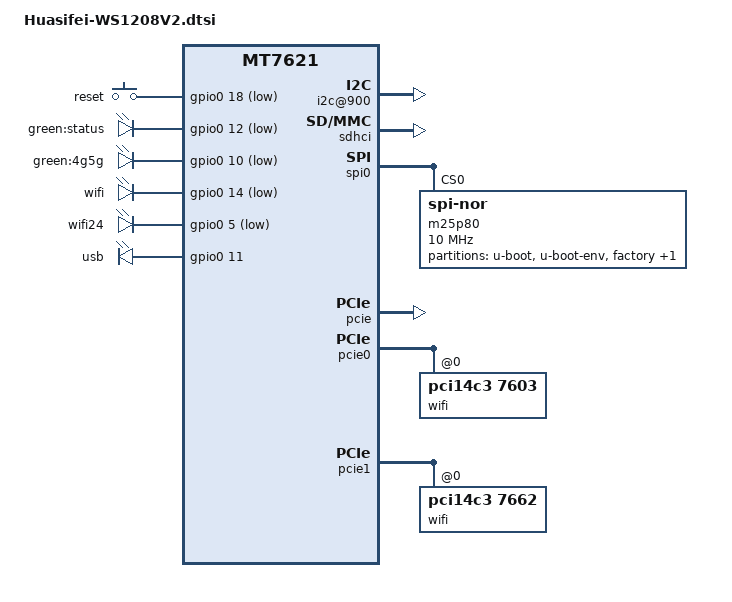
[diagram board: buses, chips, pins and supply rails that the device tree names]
#include "mt7621.dtsi"

#include <dt-bindings/gpio/gpio.h>
#include <dt-bindings/input/input.h>

/ {
	compatible = "huasifei,huasifei-ws1208v2", "mediatek,mt7621-soc";

	aliases {
		led-boot = &led_status;
		led-failsafe = &led_status;
		led-running = &led_status;
		led-upgrade = &led_status;
	};

	chosen {
		bootargs = "console=ttyS0,115200";
	};
	
	palmbus: palmbus@1E000000 {
		i2c@900 {
			status = "okay";
		};
	};

	keys {
		compatible = "gpio-keys-polled";
		poll-interval = <20>;

		reset {
			label = "reset";
			gpios = <&gpio0 18 GPIO_ACTIVE_LOW>;
			linux,code = <KEY_RESTART>;
		};
	};

	leds {
		compatible = "gpio-leds";

		led_status: status {
			label = "green:status";
			gpios = <&gpio0 12 GPIO_ACTIVE_LOW>;
		};
		
		led_4g5g: 4g5g {
			label = "green:4g5g";
			gpios = <&gpio0 10 GPIO_ACTIVE_LOW>;
		};
		
		wifi {
			label = "wifi";
			gpios = <&gpio0 14 GPIO_ACTIVE_LOW>;
		};
		
		wifi24 {
			label = "wifi24";
			gpios = <&gpio0 5 GPIO_ACTIVE_LOW>;
		};
		
		usb {
			label = "usb";
			gpios = <&gpio0 11 GPIO_ACTIVE_HIGH>;
		};
	};
};

&sdhci {
	status = "okay";
};

&spi0 {
	status = "okay";

	m25p80@0 {
		compatible = "jedec,spi-nor";
		reg = <0>;
		spi-max-frequency = <10000000>;

		partitions {
			compatible = "fixed-partitions";
			#address-cells = <1>;
			#size-cells = <1>;

			partition@0 {
				label = "u-boot";
				reg = <0x0 0x30000>;
				read-only;
			};

			partition@30000 {
				label = "u-boot-env";
				reg = <0x30000 0x10000>;
				read-only;
			};

			factory: partition@40000 {
				label = "factory";
				reg = <0x40000 0x10000>;
				read-only;
			};

			firmware: partition@50000 {
				compatible = "denx,uimage";
				label = "firmware";
			};
		};
	};
};

&pcie {
	status = "okay";
};

&pcie0 {
	wifi@0,0 {
		compatible = "pci14c3,7603";
		reg = <0x0000 0 0 0 0>;
		mediatek,mtd-eeprom = <&factory 0x0000>;
	};
};

&pcie1 {
	wifi@0,0 {
		compatible = "pci14c3,7662";
		reg = <0x0000 0 0 0 0>;
		mediatek,mtd-eeprom = <&factory 0x8000>;
		ieee80211-freq-limit = <5000000 6000000>;

		led {
			led-sources = <2>;
		};
	};
};

&ethernet {
	mtd-mac-address = <&factory 0xe000>;
};

&pinctrl {
	state_default: pinctrl0 {
		gpio {
			ralink,group = "wdt", "rgmii2", "jtag", "mdio", "ic2", "uart1", "uart2", "uart3";
			ralink,function = "gpio";
		};
	};
};
